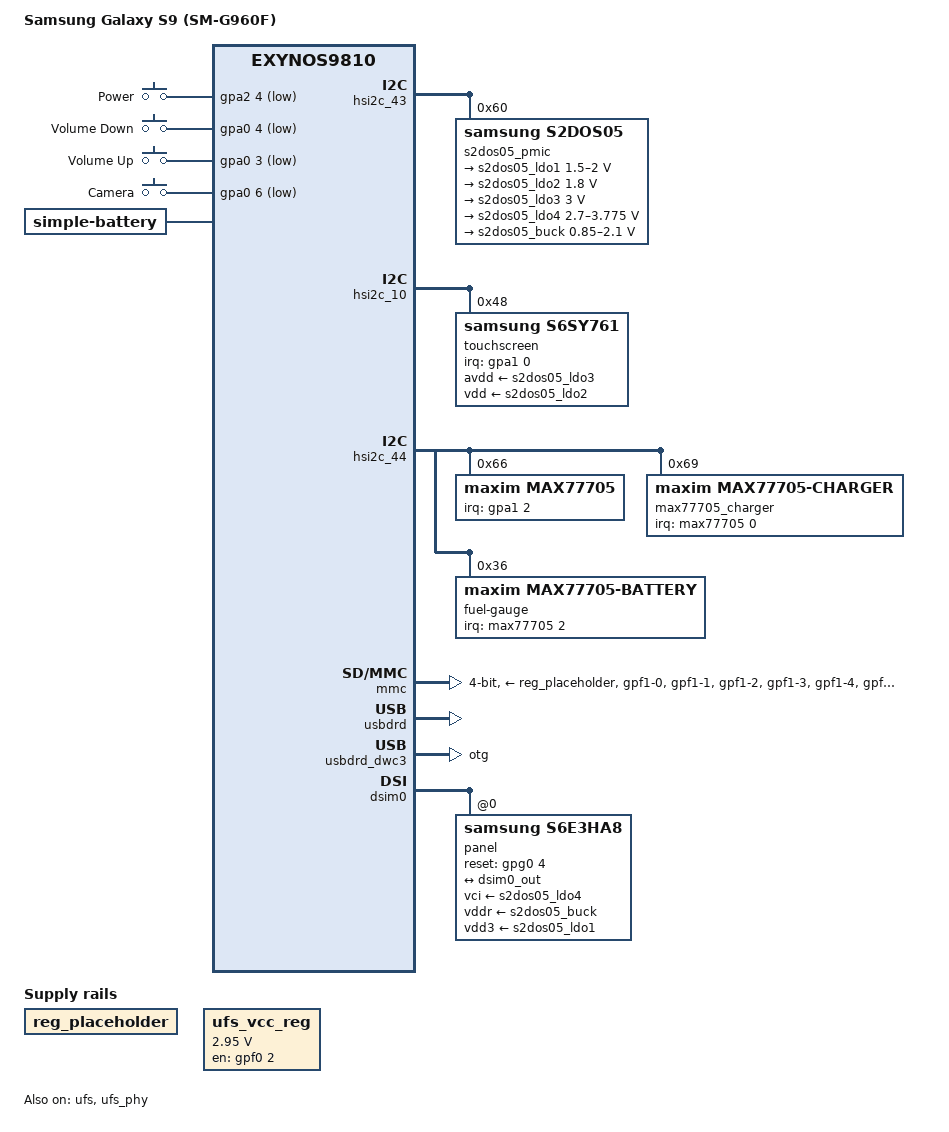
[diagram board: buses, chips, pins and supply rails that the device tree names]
// SPDX-License-Identifier: GPL-2.0 OR BSD-3-Clause
/*
 * Samsung Galaxy S9 (starlte/SM-G960F) device tree source
 *
 * Copyright (c) 2024 Markuss Broks <markuss.broks@gmail.com>
 * Copyright (c) 2024 Maksym Holovach <nergzd@nergzd723.xyz>
 */

/dts-v1/;
#include "exynos9810.dtsi"
#include <dt-bindings/gpio/gpio.h>
#include <dt-bindings/input/input.h>
#include <dt-bindings/interrupt-controller/irq.h>
#include <dt-bindings/usb/pd.h>

/ {
	model = "Samsung Galaxy S9 (SM-G960F)";
	compatible = "samsung,starlte", "samsung,exynos9810";
	chassis-type = "handset";

	chosen {
		#address-cells = <2>;
		#size-cells = <1>;
		ranges;

		framebuffer@cc000000 {
			compatible = "simple-framebuffer";
			memory-region = <&cont_splash_mem>;
			width = <1440>;
			height = <2960>;
			stride = <(1440 * 4)>;
			format = "a8r8g8b8";
		};
	};

	gpio-keys {
		compatible = "gpio-keys";

		pinctrl-0 = <&key_power &key_voldown &key_volup &key_wink>;
		pinctrl-names = "default";

		power-key {
			label = "Power";
			linux,code = <KEY_POWER>;
			gpios = <&gpa2 4 GPIO_ACTIVE_LOW>;
			wakeup-source;
		};

		voldown-key {
			label = "Volume Down";
			linux,code = <KEY_VOLUMEDOWN>;
			gpios = <&gpa0 4 GPIO_ACTIVE_LOW>;
		};

		volup-key {
			label = "Volume Up";
			linux,code = <KEY_VOLUMEUP>;
			gpios = <&gpa0 3 GPIO_ACTIVE_LOW>;
		};

		/* In stock firmware used for assistant. Map it as a camera button for now */
		wink-key {
			label = "Camera";
			linux,code = <KEY_CAMERA>;
			gpios = <&gpa0 6 GPIO_ACTIVE_LOW>;
		};
	};

	memory@80000000 {
		device_type = "memory";
		reg = <0x0 0x80000000 0x3c800000>,
		      <0x0 0xc0000000 0x20000000>,
		      <0x0 0xe1900000 0x1e700000>,
		      <0x8 0x80000000 0x80000000>;
	};

	thermal-zones {
		cpu-thermal {
			polling-delay-passive = <250>;
			polling-delay = <1000>;

			trips {
				cpu_alert0: cpu-alert0 {
					temperature = <75000>;
					hysteresis = <2000>;
					type = "passive";
				};

				cpu_crit0: cpu-crit0 {
					temperature = <115000>;
					hysteresis = <0>;
					type = "critical";
				};
			};

			cooling-maps {
			};
		};
	};

	reserved-memory {
		#address-cells = <2>;
		#size-cells = <1>;
		ranges;

		ramoops@92000000 {
			compatible = "ramoops";
			reg = <0 0x92000000 0x80000>;
			record-size = <0x40000>;
			console-size = <0x40000>;
		};

		cont_splash_mem: framebuffer@cc000000 {
			reg = <0x0 0xcc000000 (1440 * 2960 * 4)>;
			no-map;
		};
	};

	/* Temporary placeholder until board PMIC regulator rails are modeled */
	reg_placeholder: regulator-0 {
		compatible = "regulator-fixed";
		regulator-name = "reg-placeholder";
	};

	ufs_vcc_reg: regulator-1 {
		compatible = "regulator-fixed";
		regulator-name = "ufs-vcc";
		regulator-min-microvolt = <2950000>;
		regulator-max-microvolt = <2950000>;
		regulator-boot-on;
		enable-active-high;
		gpio = <&gpf0 2 GPIO_ACTIVE_HIGH>;
	};

	battery: battery {
		compatible = "simple-battery";
		constant-charge-current-max-microamp = <2150000>;
		charge-full-design-microamp-hours = <3000000>;
		voltage-min-design-microvolt = <3400000>;
		voltage-max-design-microvolt = <4350000>;
	};
};

&oscclk {
	clock-frequency = <26000000>;
};


&hsi2c_43 {
	#address-cells = <1>;
	#size-cells = <0>;
	status = "okay";

	s2dos05_pmic: pmic@60 {
		compatible = "samsung,s2dos05";
		reg = <0x60>;

		regulators {
			s2dos05_ldo1: ldo1 {
				regulator-name = "s2dos05-ldo1";
				regulator-min-microvolt = <1500000>;
				regulator-max-microvolt = <2000000>;
			};

			s2dos05_ldo2: ldo2 {
				regulator-name = "s2dos05-ldo2";
				regulator-min-microvolt = <1800000>;
				regulator-max-microvolt = <1800000>;
				regulator-boot-on;
			};

			s2dos05_ldo3: ldo3 {
				regulator-name = "s2dos05-ldo3";
				regulator-min-microvolt = <3000000>;
				regulator-max-microvolt = <3000000>;
				regulator-boot-on;
			};

			s2dos05_ldo4: ldo4 {
				regulator-name = "s2dos05-ldo4";
				regulator-min-microvolt = <2700000>;
				regulator-max-microvolt = <3775000>;
			};

			s2dos05_buck: buck {
				regulator-name = "s2dos05-buck";
				regulator-min-microvolt = <850000>;
				regulator-max-microvolt = <2100000>;
			};
		};
	};
};

&hsi2c_10 {
	#address-cells = <1>;
	#size-cells = <0>;
	status = "okay";

	touchscreen@48 {
		compatible = "samsung,s6sy761";
		reg = <0x48>;
		interrupt-parent = <&gpa1>;
		interrupts = <0 IRQ_TYPE_LEVEL_LOW>;
		avdd-supply = <&s2dos05_ldo3>;
		vdd-supply = <&s2dos05_ldo2>;
		pinctrl-0 = <&ts_int>;
		pinctrl-names = "default";
	};
};

&hsi2c_44 {
	#address-cells = <1>;
	#size-cells = <0>;
	status = "okay";

	max77705: pmic@66 {
		compatible = "maxim,max77705";
		reg = <0x66>;
		interrupt-controller;
		#interrupt-cells = <1>;
		interrupt-parent = <&gpa1>;
		interrupts = <2 IRQ_TYPE_LEVEL_LOW>;
	};

	max77705_charger: charger@69 {
		compatible = "maxim,max77705-charger";
		reg = <0x69>;
		monitored-battery = <&battery>;
		interrupt-parent = <&max77705>;
		interrupts = <0>;
	};

	fuel-gauge@36 {
		compatible = "maxim,max77705-battery";
		reg = <0x36>;
		power-supplies = <&max77705_charger>;
		interrupt-parent = <&max77705>;
		interrupts = <2>;
	};
};

&ufs {
	status = "okay";
	vcc-supply = <&ufs_vcc_reg>;
	pinctrl-0 = <&ufs_rst_n &ufs_refclk_out>;
};

&ufs_phy {
	status = "okay";
};

&mmc {
	pinctrl-0 = <&sd2_clk &sd2_cmd &sd2_bus1 &sd2_bus4 &sd2_cd>;
	pinctrl-names = "default";

	bus-width = <4>;
	card-detect-delay = <200>;
	cd-gpios = <&gpa1 5 GPIO_ACTIVE_LOW>;
	clock-frequency = <800000000>;
	disable-wp;
	sd-uhs-sdr50;
	sd-uhs-sdr104;

	vmmc-supply = <&reg_placeholder>;
	vqmmc-supply = <&reg_placeholder>;

	samsung,dw-mshc-ciu-div = <3>;
	samsung,dw-mshc-ddr-timing = <1 2>;
	samsung,dw-mshc-sdr-timing = <0 3>;

	status = "okay";
};

&usbdrd {
	status = "okay";
};

&usbdrd_dwc3 {
	status = "okay";
	dr_mode = "otg";
	#address-cells = <1>;
	#size-cells = <0>;

	connector {
		compatible = "usb-c-connector";
		label = "USB-C";
		data-role = "dual";
		power-role = "dual";
		try-power-role = "sink";
		source-pdos = <PDO_FIXED(5000, 900,
					 (PDO_FIXED_SUSPEND | PDO_FIXED_USB_COMM |
					  PDO_FIXED_DATA_SWAP | PDO_FIXED_DUAL_ROLE))>;
		pinctrl-names = "default";
		status = "disabled";
	};
};

&dsim0 {
	status = "okay";

	panel@0 {
		compatible = "samsung,s6e3ha8";
		reg = <0>;
		vci-supply = <&s2dos05_ldo4>;
		vddr-supply = <&s2dos05_buck>;
		vdd3-supply = <&s2dos05_ldo1>;
		reset-gpios = <&gpg0 4 GPIO_ACTIVE_HIGH>;

		port {
			panel_in: endpoint {
				remote-endpoint = <&dsim0_out>;
			};
		};
	};
};

&pinctrl_peric0 {
	panel_reset: panel-reset-pins {
		samsung,pins = "gpg0-4";
		samsung,pin-function = <EXYNOS_PIN_FUNC_OUTPUT>;
		samsung,pin-pud = <EXYNOS_PIN_PULL_NONE>;
		samsung,pin-drv = <EXYNOS7_PIN_DRV_LV3>;
	};
};

&pinctrl_alive {
	key_power: key-power-pins {
		samsung,pins = "gpa2-4";
		samsung,pin-function = <EXYNOS_PIN_FUNC_EINT>;
		samsung,pin-pud = <EXYNOS_PIN_PULL_UP>;
		samsung,pin-drv = <EXYNOS5420_PIN_DRV_LV1>;
	};

	key_voldown: key-voldown-pins {
		samsung,pins = "gpa0-4";
		samsung,pin-function = <EXYNOS_PIN_FUNC_EINT>;
		samsung,pin-pud = <EXYNOS_PIN_PULL_UP>;
		samsung,pin-drv = <EXYNOS5420_PIN_DRV_LV1>;
	};

	key_volup: key-volup-pins {
		samsung,pins = "gpa0-3";
		samsung,pin-function = <EXYNOS_PIN_FUNC_EINT>;
		samsung,pin-pud = <EXYNOS_PIN_PULL_UP>;
		samsung,pin-drv = <EXYNOS5420_PIN_DRV_LV1>;
	};

	key_wink: key-wink-pins {
		samsung,pins = "gpa0-6";
		samsung,pin-function = <EXYNOS_PIN_FUNC_EINT>;
		samsung,pin-pud = <EXYNOS_PIN_PULL_UP>;
		samsung,pin-drv = <EXYNOS5420_PIN_DRV_LV1>;
	};

	max77705_irq: max77705-irq-pins {
		samsung,pins = "gpa1-6";
		samsung,pin-function = <EXYNOS_PIN_FUNC_EINT>;
		samsung,pin-pud = <EXYNOS_PIN_PULL_NONE>;
		samsung,pin-drv = <EXYNOS7_PIN_DRV_LV1>;
	};

	sd2_cd: sd2-cd-pins {
		samsung,pins = "gpa1-5";
		samsung,pin-function = <EXYNOS_PIN_FUNC_EINT>;
		samsung,pin-pud = <EXYNOS_PIN_PULL_UP>;
		samsung,pin-drv = <EXYNOS7_PIN_DRV_LV4>;
	};

	ts_int: ts-int-pins {
		samsung,pins = "gpa1-0";
		samsung,pin-function = <EXYNOS_PIN_FUNC_EINT>;
		samsung,pin-pud = <EXYNOS_PIN_PULL_NONE>;
		samsung,pin-drv = <EXYNOS7_PIN_DRV_LV1>;
	};
};

&pinctrl_fsys1 {
	sd2_clk: sd2-clk-pins {
		samsung,pins = "gpf1-0";
		samsung,pin-function = <EXYNOS_PIN_FUNC_2>;
		samsung,pin-pud = <EXYNOS_PIN_PULL_NONE>;
		samsung,pin-drv = <EXYNOS7_PIN_DRV_LV4>;
	};

	sd2_cmd: sd2-cmd-pins {
		samsung,pins = "gpf1-1";
		samsung,pin-function = <EXYNOS_PIN_FUNC_2>;
		samsung,pin-pud = <EXYNOS_PIN_PULL_UP>;
		samsung,pin-drv = <EXYNOS7_PIN_DRV_LV4>;
	};

	sd2_bus1: sd2-bus-width1-pins {
		samsung,pins = "gpf1-2", "gpf1-3", "gpf1-4", "gpf1-5";
		samsung,pin-function = <EXYNOS_PIN_FUNC_2>;
		samsung,pin-pud = <EXYNOS_PIN_PULL_UP>;
		samsung,pin-drv = <EXYNOS7_PIN_DRV_LV4>;
	};

	sd2_bus4: sd2-bus-width4-pins {
		samsung,pins = "gpf1-6", "gpf1-7", "gpf2-0", "gpf2-1";
		samsung,pin-function = <EXYNOS_PIN_FUNC_2>;
		samsung,pin-pud = <EXYNOS_PIN_PULL_UP>;
		samsung,pin-drv = <EXYNOS7_PIN_DRV_LV4>;
	};
};
